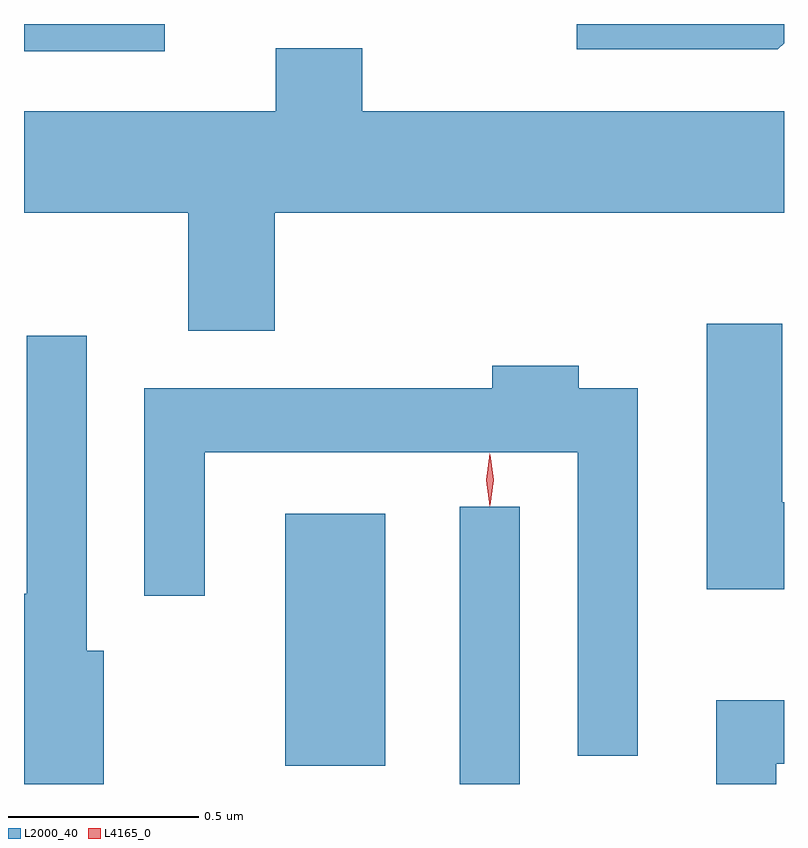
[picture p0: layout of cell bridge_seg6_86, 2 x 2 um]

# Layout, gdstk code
import gdstk
lib = gdstk.Library(unit=1e-6, precision=1e-09)
def R(c, l, rs):  # rectangles x0, y0, x1, y1
    for r in rs: c.add(gdstk.rectangle(r[:2], r[2:], *l))
def P(c, l, *ps):  # polygons
    for p in ps: c.add(gdstk.Polygon(p, *l))
L2000_40 = (2000, 40)
L4165_0 = (4165, 0)

bridge_seg6_86 = lib.new_cell('bridge_seg6_86')
R(bridge_seg6_86, L2000_40, [(1284.316,1666.193,1284.474,1666.923), (1283.856,1666.241,1284.119,1666.904), (1283.169,1668.121,1283.539,1668.193)])
P(bridge_seg6_86, L2000_40, [(1285.169,1668.143),(1285.169,1668.193),(1284.623,1668.193),(1284.623,1668.126),(1285.152,1668.126)],
  [(1283.829,1667.696),(1285.169,1667.696),(1285.169,1667.964),(1284.059,1667.964),(1284.059,1668.129),(1283.831,1668.129),(1283.831,1667.964),(1283.169,1667.964),(1283.169,1667.696),(1283.601,1667.696),(1283.601,1667.386),(1283.829,1667.386)],
  [(1285.169,1666.934),(1285.164,1666.934),(1285.164,1667.404),(1284.966,1667.404),(1284.966,1666.706),(1285.169,1666.706)],
  [(1283.379,1666.544),(1283.334,1666.544),(1283.334,1667.373),(1283.176,1667.373),(1283.176,1666.694),(1283.169,1666.694),(1283.169,1666.193),(1283.379,1666.193)],
  [(1284.784,1667.234),(1284.629,1667.234),(1284.629,1667.294),(1284.401,1667.294),(1284.401,1667.234),(1283.486,1667.234),(1283.486,1666.688),(1283.644,1666.688),(1283.644,1667.066),(1284.626,1667.066),(1284.626,1666.268),(1284.784,1666.268)],
  [(1285.149,1666.246),(1285.169,1666.246),(1285.169,1666.414),(1284.991,1666.414),(1284.991,1666.193),(1285.149,1666.193)])
P(bridge_seg6_86, L4165_0, [(1284.394,1666.924),(1284.385,1666.993),(1284.394,1667.062),(1284.395,1667.063),(1284.395,1667.062),(1284.405,1666.993),(1284.395,1666.924),(1284.395,1666.924)],
  [(1284.395,1666.927),(1284.395,1666.927),(1284.386,1666.994),(1284.395,1667.06),(1284.396,1667.06),(1284.396,1667.06),(1284.405,1666.994),(1284.396,1666.927)])

lib.write_gds('bridge_seg6_86.gds')
